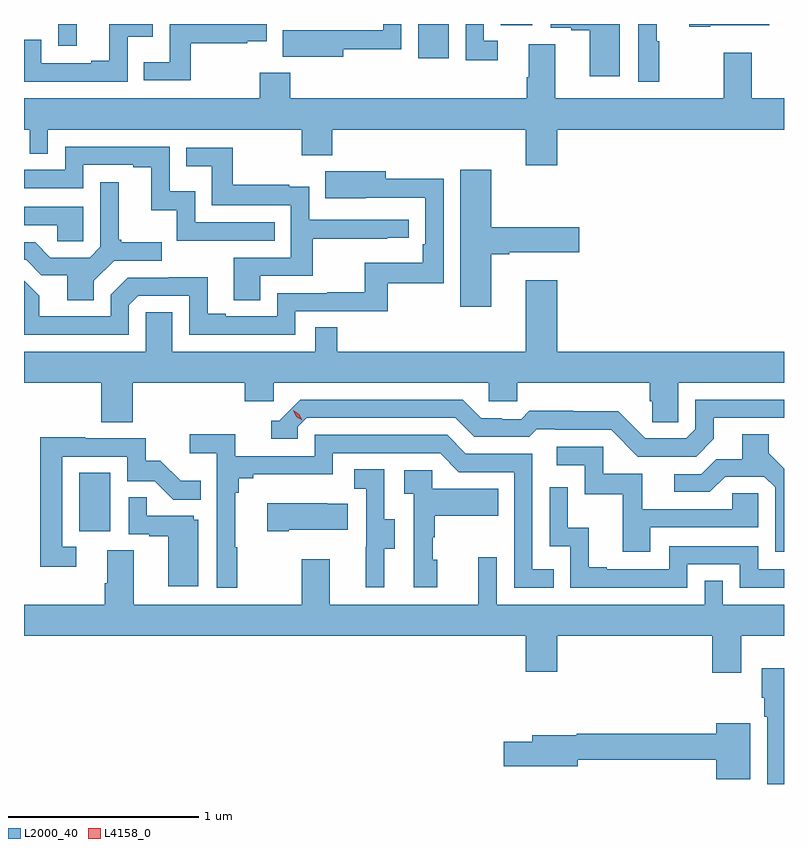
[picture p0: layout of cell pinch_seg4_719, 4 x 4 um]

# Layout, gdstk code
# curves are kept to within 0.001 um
import gdstk
lib = gdstk.Library(unit=1e-6, precision=1e-09)
def R(c, l, rs):  # rectangles x0, y0, x1, y1
    for r in rs: c.add(gdstk.rectangle(r[:2], r[2:], *l))
def P(c, l, *ps):  # polygons
    for p in ps: c.add(gdstk.Polygon(p, *l))
L2000_40 = (2000, 40)
L4158_0 = (4158, 0)

pinch_seg4_719 = lib.new_cell('pinch_seg4_719')
R(pinch_seg4_719, L2000_40, [(833.984,817.35,834.148,817.657), (835.769,819.84,835.93,820.02), (833.874,819.906,833.971,820.02), (836.204,820.014,836.368,820.02)])
P(pinch_seg4_719, L2000_40, [(834.24,819.953),(834.372,819.953),(834.372,820.02),(834.143,820.02),(834.143,819.826),(834.047,819.826),(834.047,819.813),(833.784,819.813),(833.784,819.936),(833.694,819.936),(833.694,819.717),(834.24,819.717)],
  [(834.571,819.918),(834.869,819.918),(834.869,819.929),(834.972,819.929),(834.972,820.02),(834.46,820.02),(834.46,819.82),(834.325,819.82),(834.325,819.723),(834.571,819.723)],
  [(837.037,819.929),(837.025,819.929),(837.025,820.02),(836.928,820.02),(836.928,819.717),(837.037,819.717)],
  [(836.83,820.02),(836.466,820.02),(836.466,819.999),(836.573,819.999),(836.573,819.987),(836.672,819.987),(836.672,819.744),(836.83,819.744)],
  [(837.307,820.013),(837.617,820.013),(837.617,820.02),(837.195,820.02),(837.195,820.006),(837.307,820.006)],
  [(836.188,819.933),(836.115,819.933),(836.115,820.02),(836.019,820.02),(836.019,819.828),(836.188,819.828)],
  [(835.375,819.886),(835.68,819.886),(835.68,820.02),(835.584,820.02),(835.584,819.987),(835.271,819.987),(835.271,819.988),(835.057,819.988),(835.057,819.848),(835.375,819.848)],
  [(836.351,819.914),(836.351,819.74),(836.339,819.74),(836.339,819.628),(835.094,819.628),(835.094,819.763),(834.934,819.763),(834.934,819.628),(833.694,819.628),(833.694,819.464),(833.724,819.464),(833.724,819.337),(833.82,819.337),(833.82,819.464),(835.156,819.464),(835.156,819.329),(835.316,819.329),(835.316,819.464),(836.336,819.464),(836.336,819.276),(836.5,819.276),(836.5,819.464),(837.694,819.464),(837.694,819.628),(837.523,819.628),(837.523,819.868),(837.376,819.868),(837.376,819.628),(836.491,819.628),(836.491,819.914)],
  [(835.013,818.976),(834.594,818.976),(834.594,819.139),(834.462,819.139),(834.462,819.375),(833.91,819.375),(833.91,819.252),(833.694,819.252),(833.694,819.156),(834.006,819.156),(834.006,819.279),(834.269,819.279),(834.269,819.267),(834.365,819.267),(834.365,819.041),(834.498,819.041),(834.498,818.88),(835.013,818.88)],
  [(834.937,818.694),(835.214,818.694),(835.214,818.89),(835.607,818.89),(835.607,818.895),(835.72,818.895),(835.72,818.991),(835.194,818.991),(835.194,819.163),(835.091,819.163),(835.091,819.175),(834.793,819.175),(834.793,819.369),(834.547,819.369),(834.547,819.272),(834.682,819.272),(834.682,819.066),(835.098,819.066),(835.098,818.79),(834.797,818.79),(834.797,818.566),(834.937,818.566)],
  [(836.152,818.807),(836.248,818.807),(836.248,818.819),(836.617,818.819),(836.617,818.949),(836.152,818.949),(836.152,819.253),(835.991,819.253),(835.991,818.532),(836.152,818.532)],
  [(834.246,818.541),(834.294,818.589),(834.564,818.589),(834.564,818.385),(835.122,818.385),(835.122,818.508),(835.609,818.508),(835.609,818.655),(835.902,818.655),(835.902,819.206),(835.597,819.206),(835.597,819.244),(835.279,819.244),(835.279,819.104),(835.806,819.105),(835.806,818.86),(835.793,818.86),(835.793,818.764),(835.488,818.764),(835.488,818.609),(835.291,818.609),(835.291,818.604),(835.026,818.604),(835.026,818.481),(834.757,818.481),(834.757,818.494),(834.661,818.494),(834.661,818.687),(834.456,818.687),(834.456,818.685),(834.24,818.685),(834.15,818.595),(834.15,818.481),(833.773,818.481),(833.773,818.591),(833.694,818.67),(833.694,818.385),(834.246,818.385)],
  [(834.061,818.668),(834.168,818.775),(834.418,818.775),(834.418,818.872),(834.205,818.872),(834.205,818.884),(834.193,818.884),(834.193,819.187),(834.096,819.187),(834.096,818.847),(834.039,818.79),(833.833,818.79),(833.752,818.871),(833.694,818.871),(833.694,818.778),(833.706,818.778),(833.786,818.698),(833.921,818.698),(833.921,818.566),(834.061,818.566)],
  [(834.006,819.057),(833.694,819.057),(833.694,818.961),(833.869,818.961),(833.869,818.877),(834.006,818.877)],
  [(834.266,818.132),(834.857,818.132),(834.857,818.034),(835.008,818.034),(835.008,818.132),(836.139,818.132),(836.139,818.034),(836.289,818.034),(836.289,818.132),(836.987,818.132),(836.987,818.034),(837.001,818.034),(837.001,817.924),(837.138,817.924),(837.138,818.132),(837.694,818.132),(837.694,818.296),(836.5,818.296),(836.5,818.671),(836.336,818.671),(836.336,818.296),(835.343,818.296),(835.343,818.423),(835.227,818.423),(835.227,818.296),(834.475,818.296),(834.475,818.504),(834.336,818.504),(834.336,818.296),(833.694,818.296),(833.694,818.132),(834.101,818.132),(834.101,817.924),(834.266,817.924)],
  [(837.325,817.837),(837.325,817.947),(837.694,817.947),(837.694,818.043),(837.228,818.043),(837.228,817.887),(837.18,817.839),(836.964,817.839),(836.822,817.981),(836.586,817.981),(836.586,817.984),(836.353,817.984),(836.311,817.941),(836.208,817.941),(836.208,817.944),(836.101,817.944),(836.002,818.043),(835.149,818.043),(835.038,817.932),(834.995,817.932),(834.995,817.836),(835.134,817.836),(835.134,817.899),(835.182,817.947),(835.965,817.947),(836.064,817.848),(836.353,817.848),(836.392,817.887),(836.491,817.887),(836.491,817.884),(836.784,817.884),(836.925,817.743),(837.231,817.743)],
  [(834.817,817.265),(834.805,817.265),(834.805,817.553),(834.824,817.553),(834.824,817.63),(834.901,817.63),(834.901,817.649),(835.32,817.649),(835.32,817.761),(835.884,817.761),(835.983,817.662),(836.274,817.662),(836.274,817.053),(836.483,817.053),(836.483,817.149),(836.37,817.149),(836.37,817.758),(836.02,817.758),(835.921,817.857),(835.224,817.857),(835.224,817.746),(834.806,817.746),(834.806,817.862),(834.567,817.862),(834.567,817.76),(834.708,817.76),(834.708,817.053),(834.817,817.053)],
  [(837.694,817.679),(837.613,817.76),(837.613,817.862),(837.473,817.862),(837.473,817.73),(837.338,817.73),(837.258,817.65),(837.117,817.65),(837.117,817.557),(837.304,817.557),(837.385,817.638),(837.591,817.638),(837.648,817.581),(837.648,817.242),(837.694,817.242)],
  [(833.968,817.269),(833.895,817.269),(833.895,817.743),(834.237,817.743),(834.237,817.614),(834.381,817.614),(834.479,817.516),(834.623,817.516),(834.623,817.615),(834.519,817.615),(834.412,817.722),(834.336,817.722),(834.336,817.839),(834.017,817.839),(834.017,817.844),(833.779,817.844),(833.779,817.164),(833.968,817.164)],
  [(836.989,817.371),(837.558,817.371),(837.558,817.551),(837.421,817.551),(837.421,817.467),(836.947,817.467),(836.947,817.653),(836.742,817.653),(836.742,817.794),(836.499,817.794),(836.499,817.698),(836.646,817.698),(836.646,817.545),(836.845,817.545),(836.845,817.242),(836.989,817.242)],
  [(835.591,817.258),(835.645,817.258),(835.645,817.413),(835.59,817.413),(835.59,817.676),(835.431,817.676),(835.431,817.573),(835.494,817.573),(835.494,817.269),(835.493,817.269),(835.493,817.056),(835.591,817.056)],
  [(835.87,817.2),(835.845,817.2),(835.845,817.319),(835.855,817.319),(835.855,817.433),(836.189,817.433),(836.189,817.573),(835.842,817.573),(835.842,817.671),(835.695,817.671),(835.695,817.547),(835.746,817.547),(835.746,817.056),(835.87,817.056)],
  [(837.186,817.176),(837.462,817.176),(837.462,817.053),(837.694,817.053),(837.694,817.149),(837.558,817.149),(837.558,817.272),(837.09,817.272),(837.09,817.149),(836.761,817.149),(836.761,817.162),(836.666,817.162),(836.666,817.37),(836.556,817.37),(836.556,817.582),(836.46,817.582),(836.46,817.272),(836.568,817.272),(836.568,817.053),(837.186,817.053)],
  [(834.61,817.41),(834.588,817.41),(834.588,817.431),(834.341,817.431),(834.341,817.529),(834.246,817.529),(834.246,817.335),(834.353,817.335),(834.353,817.323),(834.452,817.323),(834.452,817.062),(834.61,817.062)],
  [(835.087,817.358),(835.397,817.358),(835.397,817.495),(835.289,817.495),(835.289,817.498),(834.975,817.498),(834.975,817.351),(835.087,817.351)],
  [(835.156,817.204),(835.156,816.964),(834.271,816.964),(834.271,817.25),(834.131,817.25),(834.131,817.076),(834.119,817.076),(834.119,816.964),(833.694,816.964),(833.694,816.8),(836.336,816.8),(836.336,816.612),(836.5,816.612),(836.5,816.8),(837.317,816.8),(837.317,816.606),(837.469,816.606),(837.469,816.8),(837.694,816.8),(837.694,816.964),(837.372,816.964),(837.372,817.091),(837.276,817.091),(837.276,816.964),(836.181,816.964),(836.181,817.213),(836.084,817.213),(836.084,816.964),(835.303,816.964),(835.303,817.204)],
  [(837.694,816.628),(837.578,816.628),(837.578,816.474),(837.59,816.474),(837.59,816.374),(837.605,816.374),(837.605,816.02),(837.694,816.02)],
  [(837.517,816.34),(837.338,816.34),(837.338,816.284),(836.604,816.284),(836.604,816.277),(836.369,816.277),(836.369,816.243),(836.22,816.243),(836.22,816.113),(836.608,816.113),(836.608,816.148),(837.338,816.148),(837.338,816.044),(837.517,816.044)])
P(pinch_seg4_719, L4158_0, [(835.159,817.934),(835.128,817.953),(835.112,817.986),(835.112,817.986),(835.112,817.986),(835.143,817.967),(835.159,817.934),(835.159,817.934)])

lib.write_gds('pinch_seg4_719.gds')
